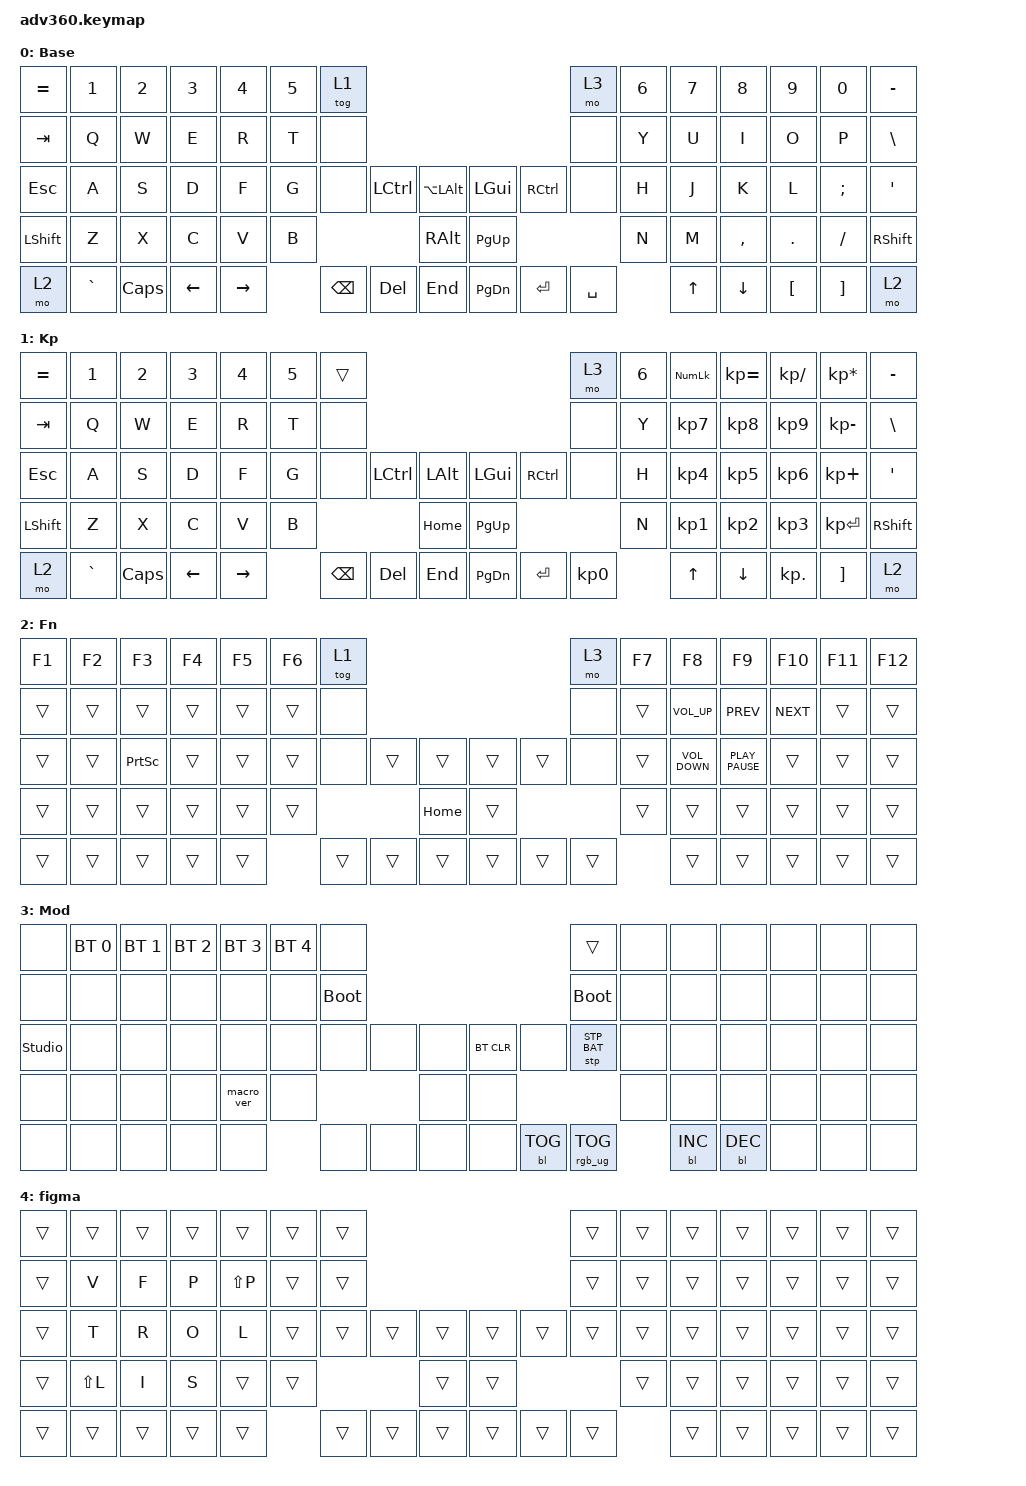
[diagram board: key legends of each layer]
#include <dt-bindings/zmk/stp.h>
#include <behaviors.dtsi>
#include <dt-bindings/zmk/backlight.h>
#include <dt-bindings/zmk/bt.h>
#include <dt-bindings/zmk/keys.h>
#include <dt-bindings/zmk/rgb.h>

/ {
    behaviors {
        #include "macros.dtsi"
      #include "version.dtsi"

        hm: homerow_mods {
            compatible = "zmk,behavior-hold-tap";
            label = "HOMEROW_MODS";
            #binding-cells = <2>;
            tapping-term-ms = <200>;
            quick_tap_ms = <175>;
            flavor = "tap-preferred";
            bindings = <&kp>, <&kp>;
        };
    };

    combos {
        compatible = "zmk,combos";

        figma {
            bindings = <&tog 4>;
            key-positions = <4 7>;
        };

        viewRulerFigma {
            bindings = <&kp LS(R)>;
            key-positions = <50 15>;
            layers = <4>;
        };

        showOutlinesFigma {
            bindings = <&kp LS(LC(O))>;
            key-positions = <50 16>;
            layers = <4>;
        };

        showPixelPreviewFigma {
            bindings = <&kp LS(LC(P))>;
            key-positions = <50 17>;
            layers = <4>;
        };

        layoutGuidesFigma {
            bindings = <&kp LS(G)>;
            key-positions = <50 29>;
            layers = <4>;
        };

        pixelGrid {
            bindings = <&kp LS(SQT)>;
            key-positions = <50 30>;
            layers = <4>;
        };

        new_file_rider {
            bindings = <&kp LA(INSERT)>;
            key-positions = <36 24>;
            layers = <0>;
        };

        newFileInDirectory_rider {
            bindings = <&kp LA(LC(INSERT))>;
            key-positions = <35 36 24>;
            layers = <0>;
        };
    };

    keymap {
        compatible = "zmk,keymap";

        default_layer {
            display-name = "Base";
            bindings = <
&kp EQUAL  &kp N1     &kp N2    &kp N3    &kp N4     &kp N5  &tog 1                                                        &mo 3      &kp N6  &kp N7  &kp N8     &kp N9    &kp N0    &kp MINUS
&kp TAB    &kp Q      &kp W     &kp E     &kp R      &kp T   &none                                                         &none      &kp Y   &kp U   &kp I      &kp O     &kp P     &kp BSLH
&kp ESC    &kp A      &kp S     &kp D     &kp F      &kp G   &none     &kp LCTRL  &kp LA(LALT)       &kp LGUI   &kp RCTRL  &none      &kp H   &kp J   &kp K      &kp L     &kp SEMI  &kp SQT
&kp LSHFT  &kp Z      &kp X     &kp C     &kp V      &kp B                        &kp RIGHT_ALT      &kp PG_UP                        &kp N   &kp M   &kp COMMA  &kp DOT   &kp FSLH  &kp RSHFT
&mo 2      &kp GRAVE  &kp CAPS  &kp LEFT  &kp RIGHT          &kp BSPC  &kp DEL    &kp END            &kp PG_DN  &kp ENTER  &kp SPACE          &kp UP  &kp DOWN   &kp LBKT  &kp RBKT  &mo 2
            >;
        };

        keypad {
            display-name = "Kp";
            bindings = <
&kp EQUAL  &kp N1     &kp N2    &kp N3    &kp N4     &kp N5  &trans                                                   &mo 3      &kp N6  &kp KP_NUM  &kp KP_EQUAL  &kp KP_DIVIDE  &kp KP_MULTIPLY  &kp MINUS
&kp TAB    &kp Q      &kp W     &kp E     &kp R      &kp T   &none                                                    &none      &kp Y   &kp KP_N7   &kp KP_N8     &kp KP_N9      &kp KP_MINUS     &kp BSLH
&kp ESC    &kp A      &kp S     &kp D     &kp F      &kp G   &none     &kp LCTRL  &kp LALT      &kp LGUI   &kp RCTRL  &none      &kp H   &kp KP_N4   &kp KP_N5     &kp KP_N6      &kp KP_PLUS      &kp SQT
&kp LSHFT  &kp Z      &kp X     &kp C     &kp V      &kp B                        &kp HOME      &kp PG_UP                        &kp N   &kp KP_N1   &kp KP_N2     &kp KP_N3      &kp KP_ENTER     &kp RSHFT
&mo 2      &kp GRAVE  &kp CAPS  &kp LEFT  &kp RIGHT          &kp BSPC  &kp DEL    &kp END       &kp PG_DN  &kp ENTER  &kp KP_N0          &kp UP      &kp DOWN      &kp KP_DOT     &kp RBKT         &mo 2
            >;
        };

        fn {
            display-name = "Fn";
            bindings = <
&kp F1  &kp F2  &kp F3           &kp F4  &kp F5  &kp F6  &tog 1                                        &mo 3   &kp F7  &kp F8             &kp F9            &kp F10     &kp F11  &kp F12
&trans  &trans  &trans           &trans  &trans  &trans  &none                                         &none   &trans  &kp C_VOLUME_UP    &kp K_PREV        &kp K_NEXT  &trans   &trans
&trans  &trans  &kp PRINTSCREEN  &trans  &trans  &trans  &none   &trans  &trans        &trans  &trans  &none   &trans  &kp C_VOLUME_DOWN  &kp K_PLAY_PAUSE  &trans      &trans   &trans
&trans  &trans  &trans           &trans  &trans  &trans                  &kp HOME      &trans                  &trans  &trans             &trans            &trans      &trans   &trans
&trans  &trans  &trans           &trans  &trans          &trans  &trans  &trans        &trans  &trans  &trans          &trans             &trans            &trans      &trans   &trans
            >;
        };

        mod {
            display-name = "Mod";
            bindings = <
&none           &bt BT_SEL 0  &bt BT_SEL 1  &bt BT_SEL 2  &bt BT_SEL 3  &bt BT_SEL 4  &none                                                  &trans           &none  &none       &none       &none  &none  &none
&none           &none         &none         &none         &none         &none         &bootloader                                            &bootloader      &none  &none       &none       &none  &none  &none
&studio_unlock  &none         &none         &none         &none         &none         &none        &none  &none      &bt BT_CLR  &none       &stp STP_BAT     &none  &none       &none       &none  &none  &none
&none           &none         &none         &none         &macro_ver    &none                             &none      &none                                    &none  &none       &none       &none  &none  &none
&none           &none         &none         &none         &none                       &none        &none  &none      &none       &bl BL_TOG  &rgb_ug RGB_TOG         &bl BL_INC  &bl BL_DEC  &none  &none  &none
            >;
        };

        figma {
            bindings = <
&trans  &trans     &trans  &trans  &trans     &trans  &trans                                      &trans  &trans  &trans  &trans  &trans  &trans  &trans
&trans  &kp V      &kp F   &kp P   &kp LS(P)  &trans  &trans                                      &trans  &trans  &trans  &trans  &trans  &trans  &trans
&trans  &kp T      &kp R   &kp O   &kp L      &trans  &trans  &trans  &trans      &trans  &trans  &trans  &trans  &trans  &trans  &trans  &trans  &trans
&trans  &kp LS(L)  &kp I   &kp S   &trans     &trans                  &trans      &trans                  &trans  &trans  &trans  &trans  &trans  &trans
&trans  &trans     &trans  &trans  &trans             &trans  &trans  &trans      &trans  &trans  &trans          &trans  &trans  &trans  &trans  &trans
            >;
        };
    };
};
